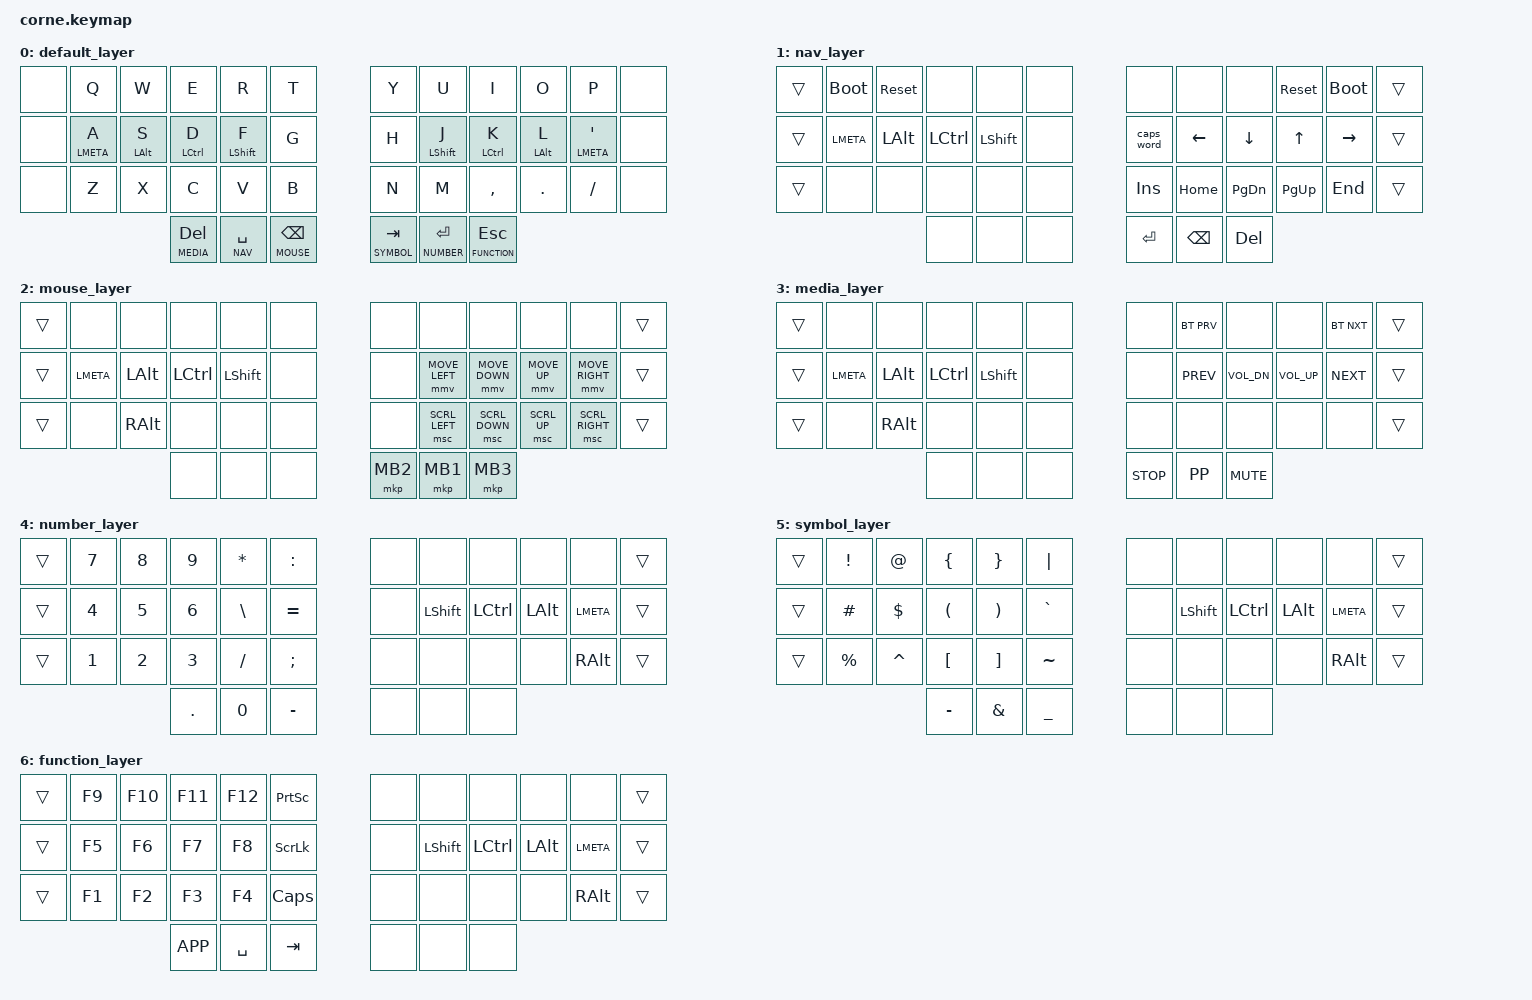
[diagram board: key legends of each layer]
/*
 * Copyright (c) 2020 The ZMK Contributors
 *
 * SPDX-License-Identifier: MIT
 */

#include <behaviors.dtsi>
#include <dt-bindings/zmk/keys.h>
#include <dt-bindings/zmk/bt.h>
#include <dt-bindings/zmk/pointing.h>

#define QUERTY   0
#define NAV      1
#define MOUSE    2
#define MEDIA    3
#define NUMBER   4
#define SYMBOL   5
#define FUNCTION 6

&mt {
    flavor = "tap-preferred";
};

/ {
        keymap {
                compatible = "zmk,keymap";

                default_layer {
// -----------------------------------------------------------------------------------------
// | NONE | Q       | W      | E      | R        | T      |     | Y | U        | I       | O      | P         | NONE |
// | NONE | LMETA A | LALT S | LCTL D | LSHIFT F | G      |     | H | LSHIFT J | LCTRL K | LALT L | LMETA '"' | NONE |
// | NONE | Z       | X      | C      | V        | B      |     | N | M        | ,       | .      | /         | NONE |
// | media_layer DEL | nav_layer SPACE | mouse_layer BSPC |     | symbol_layer TAB | number_layer RET  | function_layer ESC |
                        bindings = <
   &none &kp Q       &kp W      &kp E       &kp R        &kp T            &kp Y &kp U        &kp I       &kp O      &kp P         &none
   &none &mt LMETA A &mt LALT S &mt LCTRL D &mt LSHIFT F &kp G            &kp H &mt LSHIFT J &mt LCTRL K &mt LALT L &mt LMETA SQT &none
   &none &kp Z       &kp X      &kp C       &kp V        &kp B            &kp N &kp M        &kp COMMA   &kp DOT    &kp FSLH      &none
                              &lt MEDIA DEL &lt NAV SPACE &lt MOUSE BSPC            &lt SYMBOL TAB &lt NUMBER RET &lt FUNCTION ESC
                        >;
                };
                nav_layer {
// -----------------------------------------------------------------------------------------
// | ____ | boot  | reset | NONE  | NONE   | NONE |   | NONE   | NONE | NONE  | boot | reset    | ____ |
// | ____ | LMETA | LALT  | LCTRL | LSHIFT | NONE |   | caps   | LEFT |  DOWN | UP   |  RIGHT   | ____ |
// | ____ | NONE  | NONE  | NONE  | NONE   | NONE |   | INSERT | HOME | PGDN  | PGUP | END      | ____ |
//                           | NONE | NONE | NONE |   | ENT | BSPC | DEL |
                        bindings = <
   &trans &bootloader &sys_reset &none     &none      &none     &none      &none    &none     &sys_reset &bootloader  &trans
   &trans &kp LMETA   &kp LALT   &kp LCTRL &kp LSHIFT &none     &caps_word &kp LEFT &kp DOWN  &kp UP     &kp RIGHT    &trans
   &trans &none       &none      &none     &none      &none     &kp INS    &kp HOME &kp PG_DN &kp PG_UP  &kp END      &trans
                                 &none   &none     &none        &kp RET  &kp BSPC   &kp DEL
                        >;
                };
                mouse_layer {
// -----------------------------------------------------------------------------------------
// | ____ | NONE  | NONE | NONE  | NONE   | NONE |   | NONE | NONE | NONE  | NONE | NONE   | ____ |
// | ____ | LMETA | LALT | LCTRL | LSHIFT | NONE |   | NONE | MS_L |  MS_D | MS_U | MS_R   | ____ |
// | ____ | NONE  | RALT | NONE  | NONE   | NONE |   | NONE | WH_L | WH_D  | WH_U | WH_R   | ____ |
//                          | NONE | NONE | NONE |   | BTN_2 | BTN_1 | BTN_3 |
                        bindings = <
   &trans &none     &none    &none     &none      &none       &none &none          &none          &none        &none           &trans
   &trans &kp LMETA &kp LALT &kp LCTRL &kp LSHIFT &none       &none &mmv MOVE_LEFT &mmv MOVE_DOWN &mmv MOVE_UP &mmv MOVE_RIGHT &trans
   &trans &none     &kp RALT &none     &none      &none       &none &msc SCRL_LEFT &msc SCRL_DOWN &msc SCRL_UP &msc SCRL_RIGHT &trans
                    &none     &none       &none      &mkp MB2  &mkp MB1   &mkp MB3
                        >;
                };
                media_layer {
// -----------------------------------------------------------------------------------------
// | ____ | NONE  | NONE | NONE  | NONE   | NONE |   | NONE | BT_PRV | NONE | NONE | BT_NXT | ____ |
// | ____ | LMETA | LALT | LCTRL | LSHIFT | NONE |   | NONE | PREV   | VOLD | VOLU | NEXT   | ____ |
// | ____ | NONE  | RALT | NONE  | NONE   | NONE |   | NONE | NONE   | NONE | NONE | NONE   | ____ |
//                    | NONE | NONE | NONE |   | STOP | PLAY | MUTE |
                        bindings = <
   &trans &none     &none    &none     &none      &none         &none    &bt BT_PRV &none        &none        &bt BT_NXT &trans
   &trans &kp LMETA &kp LALT &kp LCTRL &kp LSHIFT &none         &none    &kp K_PREV &kp K_VOL_DN &kp K_VOL_UP &kp K_NEXT &trans
   &trans &none     &kp RALT &none     &none      &none         &none    &none      &none        &none        &none      &trans
                    &none     &none       &none              &kp K_STOP  &kp K_PP   &kp K_MUTE
                        >;
                };
                number_layer {
// -----------------------------------------------------------------------------------------
// | ____ | 7 | 8 | 9 | * | : |   | none | none   | none  | none | none  | ____ |
// | ____ | 4 | 5 | 6 | \ | = |   | none | LSHIFT | LCTRL | LALT | LMETA | ____ |
// | ____ | 1 | 2 | 3 | / | ; |   | none | none   | none  | RALT | NONE  | ____ |
//                | . | 0 | - |   | none | none | none |
                        bindings = <
   &trans &kp N7 &kp N8 &kp N9 &kp ASTRK &kp COLON     &none &none      &none     &none    &none     &trans
   &trans &kp N4 &kp N5 &kp N6 &kp BSLH  &kp EQUAL     &none &kp LSHIFT &kp LCTRL &kp LALT &kp LMETA &trans
   &trans &kp N1 &kp N2 &kp N3 &kp SLASH &kp SEMI      &none &none      &none     &none    &kp RALT  &trans
                            &kp DOT &kp N0 &kp MINUS   &none   &none   &none
                        >;
                };
                symbol_layer {
// -----------------------------------------------------------------------------------------
// | ____ | ! | @ | { | } | | |   | none | none   | none  | none | none  | ____ |
// | ____ | # | $ | ( | ) | ` |   | none | LSHIFT | LCTRL | LALT | LMETA | ____ |
// | ____ | % | ^ | [ | ] | ~ |   | none | none   | none  | RALT | NONE  | ____ |
//                | - | AMPS | _ |   | NONE | NONE | NONE |
                        bindings = <
   &trans &kp EXCL  &kp AT    &kp LBRC &kp RBRC &kp PIPE        &none &none      &none     &none    &none     &trans 
   &trans &kp HASH  &kp DLLR  &kp LPAR &kp RPAR &kp GRAVE       &none &kp LSHIFT &kp LCTRL &kp LALT &kp LMETA &trans
   &trans &kp PRCNT &kp CARET &kp LBKT &kp RBKT &kp TILDE       &none &none      &none     &none    &kp RALT  &trans 
                             &kp MINUS &kp AMPS &kp UNDER       &none   &none   &none                                
                        >;
                };
                function_layer {
// -----------------------------------------------------------------------------------------
// | ____ | F9 | F10 | F11 | F12 | PSCRN   |   | none | none   | none  | none | none  | ____ |
// | ____ | F5 | F6  | F7  | F8  | SLCK |   | none | LSHIFT | LCTRL | LALT | LMETA | ____ |
// | ____ | F1 | F2  | F3  | F4  | CLCK |   | none | none   | none  | RALT | NONE  | ____ |
//                   | APP | SPC | TAB |   | NONE | NONE | NONE |                         
                        bindings = <
   &trans &kp F9 &kp F10 &kp F11 &kp F12 &kp PSCRN       &none &none      &none     &none    &none     &trans 
   &trans &kp F5 &kp F6  &kp F7  &kp F8  &kp SLCK        &none &kp LSHIFT &kp LCTRL &kp LALT &kp LMETA &trans
   &trans &kp F1 &kp F2  &kp F3  &kp F4  &kp CLCK        &none &none      &none     &none    &kp RALT  &trans 
                      &kp K_APP &kp SPACE &kp TAB        &none   &none   &none
                        >;
                };
        };
};
